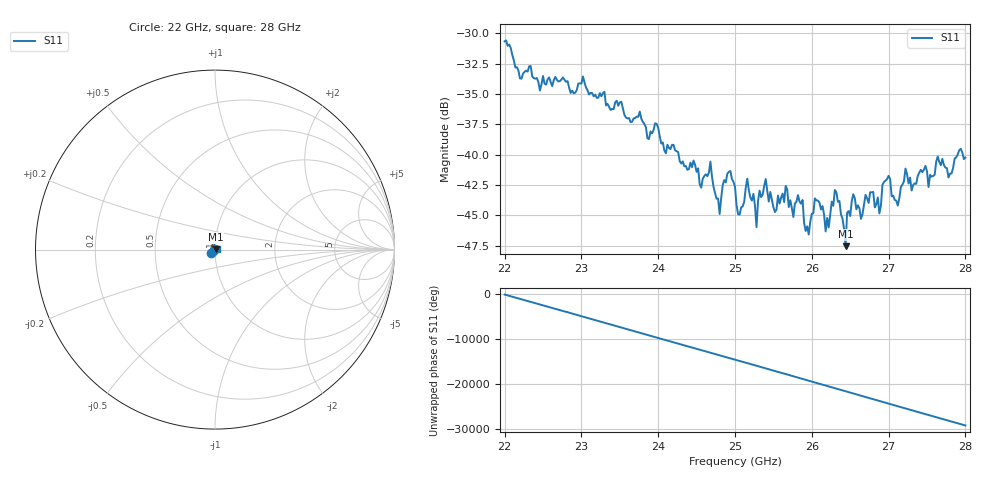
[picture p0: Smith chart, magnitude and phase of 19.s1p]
#  HZ  S  RI  R  50.00
! Rohde & Schwarz ZVA40 4Ports - Version 3.90 - 1145.1110k42 SN: 100403
! Date: 2023-10-04 10:27:07
! Measurement: S12
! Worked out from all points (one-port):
!   301 points, 22 GHz to 28 GHz, reference 50 ohm
!   lowest |S11| = -47.6 dB at 26.44 GHz (marker M1), VSWR 1.01, Z = 50.4 + j0.128 ohm
!   |S11| at or under -10 dB: start of sweep to end of sweep
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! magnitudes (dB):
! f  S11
! 22 GHz  -30.7
! 22.2 GHz  -33.7
! 22.76 GHz  -33.6
! 23.5 GHz  -35.7
! 24.26 GHz  -39.8
! 24.56 GHz  -42.7
! 24.68 GHz  -40.6
! 24.8 GHz  -44.9
! 24.9 GHz  -41.6
! 25 GHz  -42.7
! 25.06 GHz  -45.0
! 25.16 GHz  -42.0
! 25.28 GHz  -46.0
! 25.32 GHz  -43.0
! 25.4 GHz  -42.0
! 25.52 GHz  -44.7
! 25.66 GHz  -42.6
! 25.76 GHz  -45.1
! 25.88 GHz  -43.7
! 25.96 GHz  -46.6
! 26.04 GHz  -43.6
! 26.18 GHz  -46.3
! 26.3 GHz  -42.9
! 26.44 GHz  -47.6
! 26.46 GHz  -44.8
! 26.5 GHz  -45.1
! 27.26 GHz  -42.4
! 28 GHz  -40.2
